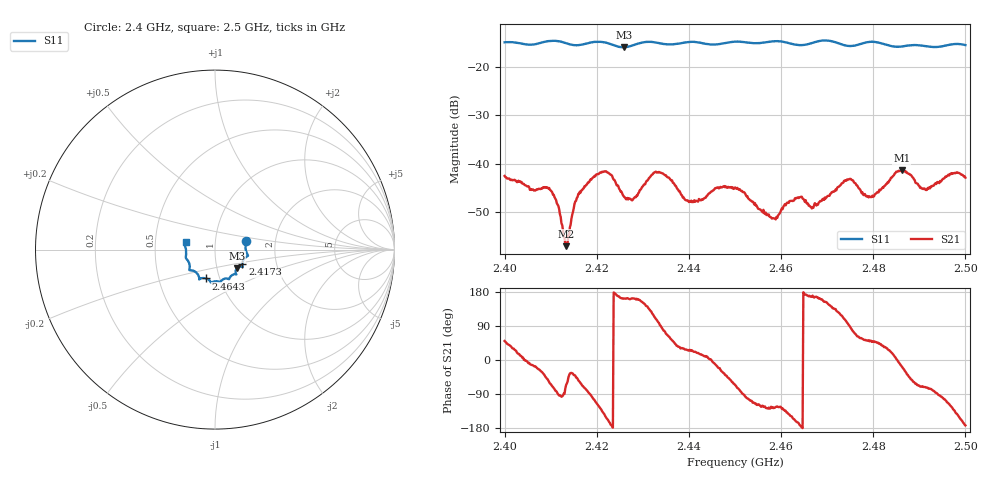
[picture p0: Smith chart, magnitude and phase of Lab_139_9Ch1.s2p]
# Hz S RI R 50
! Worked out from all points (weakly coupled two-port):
!   601 points, 2.4 GHz to 2.5 GHz, reference 50 ohm
!   highest |S21| = -41.35 dB at 2.4862 GHz (marker M1); lowest = -57.0 dB at 2.4133 GHz (marker M2)
!   lowest |S11| = -15.9 dB at 2.4258 GHz (marker M3), VSWR 1.38, Z = 62.3 - j13.3 ohm
!   |S11| at or under -10 dB: start of sweep to end of sweep
!   S12 and S22 are empty: the file has one direction only
!   S11 on the Smith chart (normalised r, x): 2.4 GHz: 1.41, +0.14; 2.4173 GHz: 1.34, -0.23; 2.4643 GHz: 0.86, -0.28; 2.5 GHz: 0.72, +0.06
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2.4e9  0.1733 0.0492  0.00479 0.00575  0 0  0 0
2.409833e9  0.1834 -0.0319  0.00254 -0.00475  0 0  0 0
2.4115e9  0.1821 -0.0358  9.35e-05 -0.00378  0 0  0 0
2.413333e9  0.1712 -0.0426  0.000562 -0.00129  0 0  0 0
2.4155e9  0.1565 -0.0611  0.00287 -0.00298  0 0  0 0
2.416667e9  0.1529 -0.0746  0.00233 -0.00477  0 0  0 0
2.417333e9  0.1522 -0.0819  0.00168 -0.00562  0 0  0 0
2.422e9  0.1514 -0.0947  -0.00733 -0.00404  0 0  0 0
2.425833e9  0.1218 -0.1037  -0.00438 0.00146  0 0  0 0
2.428e9  0.1147 -0.1236  -0.00418 0.00131  0 0  0 0
2.433333e9  0.1131 -0.1366  -0.00137 0.008  0 0  0 0
2.4405e9  0.0786 -0.1644  0.00381 0.00167  0 0  0 0
2.45e9  0.0294 -0.1807  0.00234 -0.00519  0 0  0 0
2.458333e9  -0.0197 -0.1837  -0.00164 -0.00218  0 0  0 0
2.464333e9  -0.05 -0.1608  -0.00455 -0.000345  0 0  0 0
2.466667e9  -0.0761 -0.1598  -0.00337 0.000774  0 0  0 0
2.4745e9  -0.1015 -0.1307  -0.00071 0.0068  0 0  0 0
2.479167e9  -0.1411 -0.115  0.00302 0.0035  0 0  0 0
2.483333e9  -0.1408 -0.0903  0.00576 0.00285  0 0  0 0
2.486167e9  -0.1508 -0.0619  0.0082 -0.00246  0 0  0 0
2.491167e9  -0.1616 -0.0329  0.00177 -0.00525  0 0  0 0
2.5e9  -0.1634 0.0419  -0.00712 -0.000929  0 0  0 0
